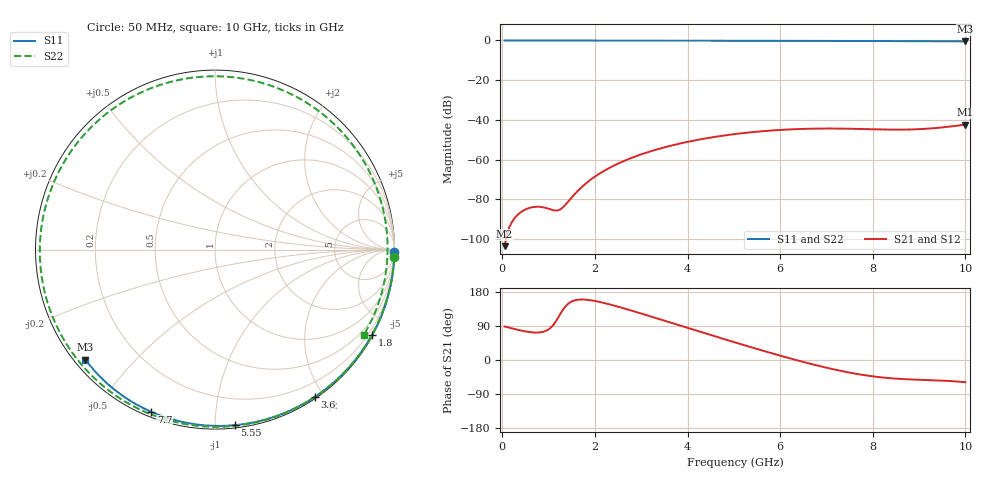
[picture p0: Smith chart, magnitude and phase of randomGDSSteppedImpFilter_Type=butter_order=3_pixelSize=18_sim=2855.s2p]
! freq	dB(S11)	phase(S11)	dB(S12)	phase(S12)
!  dB(S21)	phase(S21)	dB(S22)	phase(S22)
!S-par simulation data
#  GHz  S  DB  R 50
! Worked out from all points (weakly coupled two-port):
!   200 points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, 50 MHz to 10 GHz, reference 50 ohm
!   highest |S21| = -42.41 dB at 10 GHz (marker M1); lowest = -103.6 dB at 50 MHz (marker M2)
!   lowest |S11| = -0.5 dB at 10 GHz (marker M3), VSWR 36.76, Z = 1.54 - j18.3 ohm
!   |S11| at or under -10 dB: nowhere
!   |S22| runs from -0.4 to 0.0 dB; largest |S21 - S12| = 0
!   S11 on the Smith chart (normalised r, x): 50 MHz: open; 1.8 GHz: 0.03, -3.91; 3.6 GHz: 0.02, -1.88; 5.55 GHz: 0.02, -1.12; 7.7 GHz: 0.02, -0.68; 10 GHz: 0.03, -0.37
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0.05  -0.00 -0.8  -103.64 88.4  -103.64 88.4  -0.00 -2.5
0.35  -0.01 -5.6  -87.44 79.2  -87.44 79.2  -0.03 -17.3
0.7  -0.01 -11.3  -83.84 72.5  -83.84 72.5  -0.05 -34.3
1.1  -0.02 -17.6  -85.52 92.3  -85.52 92.3  -0.07 -53.3
1.45  -0.03 -23.2  -80.43 150.9  -80.43 150.9  -0.09 -69.5
1.75  -0.04 -27.9  -73.14 159.6  -73.14 159.6  -0.10 -82.9
1.8  -0.04 -28.7  -72.13 159.3  -72.13 159.3  -0.10 -85.1
2.15  -0.04 -34.1  -66.35 151.9  -66.35 151.9  -0.12 -100.2
2.55  -0.05 -40.3  -61.51 139.0  -61.51 139.0  -0.14 -116.8
3  -0.06 -47.1  -57.39 122.7  -57.39 122.7  -0.16 -134.9
3.4  -0.07 -53.0  -54.49 107.6  -54.49 107.6  -0.17 -150.5
3.6  -0.08 -56.0  -53.25 100.1  -53.25 100.1  -0.18 -158.1
4.3  -0.09 -66.1  -49.73 73.5  -49.73 73.5  -0.22 175.4
5.05  -0.12 -76.7  -47.09 45.5  -47.09 45.5  -0.25 147.1
5.55  -0.14 -83.5  -45.86 27.3  -45.86 27.3  -0.27 128.2
6.15  -0.16 -91.5  -44.88 6.4  -44.88 6.4  -0.29 105.3
6.7  -0.19 -98.7  -44.44 -11.5  -44.44 -11.5  -0.31 84.2
7.2  -0.22 -105.1  -44.38 -25.9  -44.38 -25.9  -0.31 65.2
7.7  -0.26 -111.4  -44.57 -37.7  -44.57 -37.7  -0.32 46.4
8.35  -0.31 -119.5  -44.91 -47.7  -44.91 -47.7  -0.32 23.0
9.15  -0.38 -129.3  -44.49 -52.7  -44.49 -52.7  -0.35 -3.9
10  -0.47 -139.7  -42.41 -58.6  -42.41 -58.6  -0.40 -29.7
